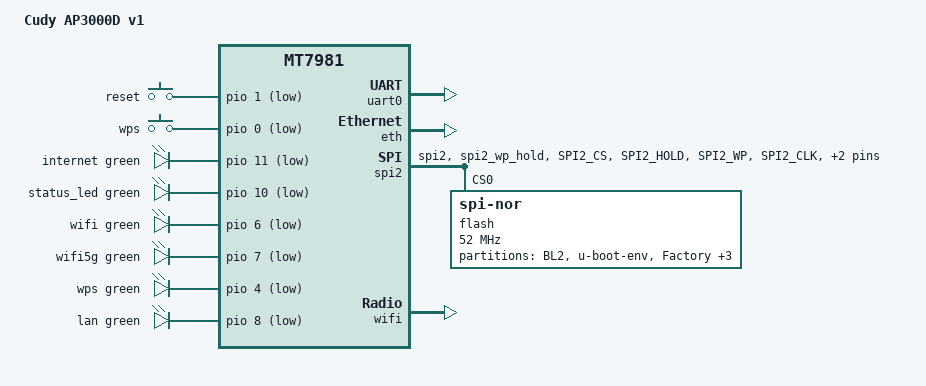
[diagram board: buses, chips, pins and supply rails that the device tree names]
// SPDX-License-Identifier: GPL-2.0-only OR MIT

/dts-v1/;

#include <dt-bindings/leds/common.h>

#include "mt7981b.dtsi"

/ {
	model = "Cudy AP3000D v1";
	compatible = "cudy,ap3000d-v1", "mediatek,mt7981";

	aliases {
		label-mac-device = &gmac1;
		led-boot = &status_led;
		led-failsafe = &status_led;
		led-running = &status_led;
		led-upgrade = &status_led;
		serial0 = &uart0;
	};

	chosen {
		stdout-path = "serial0:115200n8";
	};

	gpio-keys-polled {
		compatible = "gpio-keys-polled";
		poll-interval = <20>;

		reset {
			label = "reset";
			linux,code = <KEY_RESTART>;
			gpios = <&pio 1 GPIO_ACTIVE_LOW>;
		};

		wps {
			label = "wps";
			linux,code = <KEY_WPS_BUTTON>;
			gpios = <&pio 0 GPIO_ACTIVE_LOW>;
		};
	};

	gpio-leds {
		compatible = "gpio-leds";

		internet {
			function = LED_FUNCTION_WAN_ONLINE;
			color = <LED_COLOR_ID_GREEN>;
			gpios = <&pio 11 GPIO_ACTIVE_LOW>;
		};

		status_led: status {
			function = LED_FUNCTION_STATUS;
			color = <LED_COLOR_ID_GREEN>;
			gpios = <&pio 10 GPIO_ACTIVE_LOW>;
		};

		wifi {
			function = LED_FUNCTION_WLAN_2GHZ;
			color = <LED_COLOR_ID_GREEN>;
			gpios = <&pio 6 GPIO_ACTIVE_LOW>;
		};

		wifi5g {
			function = LED_FUNCTION_WLAN_5GHZ;
			color = <LED_COLOR_ID_GREEN>;
			gpios = <&pio 7 GPIO_ACTIVE_LOW>;
		};

		wps {
			function = LED_FUNCTION_WPS;
			color = <LED_COLOR_ID_GREEN>;
			gpios = <&pio 4 GPIO_ACTIVE_LOW>;
		};

		lan {
			function = LED_FUNCTION_LAN;
			color = <LED_COLOR_ID_GREEN>;
			gpios = <&pio 8 GPIO_ACTIVE_LOW>;
		};
	};
};

&uart0 {
	status = "okay";
};

&eth {
	pinctrl-names = "default";
	pinctrl-0 = <&mdio_pins>;
	status = "okay";

	gmac1: mac@1 {
		compatible = "mediatek,eth-mac";
		reg = <1>;
		phy-mode = "gmii";
		phy-handle = <&int_gbe_phy>;

		nvmem-cell-names = "mac-address";
		nvmem-cells = <&macaddr_bdinfo_de00 1>;
	};
};

&spi2 {
	pinctrl-names = "default";
	pinctrl-0 = <&spi2_flash_pins>;
	status = "okay";

	flash@0 {
		compatible = "jedec,spi-nor";
		reg = <0>;
		spi-max-frequency = <52000000>;
		spi-tx-bus-width = <4>;
		spi-rx-bus-width = <4>;

		partitions {
			compatible = "fixed-partitions";
			#address-cells = <1>;
			#size-cells = <1>;

			partition@0 {
				label = "BL2";
				reg = <0x000000 0x040000>;
				read-only;
			};

			partition@40000 {
				label = "u-boot-env";
				reg = <0x040000 0x010000>;
				read-only;
			};

			factory: partition@50000 {
				label = "Factory";
				reg = <0x050000 0x010000>;
				read-only;

				nvmem-layout {
					compatible = "fixed-layout";
					#address-cells = <1>;
					#size-cells = <1>;

					eeprom_factory_0: eeprom@0 {
						reg = <0x0 0x1000>;
					};
				};
			};

			partition@60000 {
				label = "bdinfo";
				reg = <0x060000 0x010000>;
				read-only;

				nvmem-layout {
					compatible = "fixed-layout";
					#address-cells = <1>;
					#size-cells = <1>;

					macaddr_bdinfo_de00: macaddr@de00 {
						compatible = "mac-base";
						reg = <0xde00 0x6>;
						#nvmem-cell-cells = <1>;
					};
				};
			};

			partition@70000 {
				label = "FIP";
				reg = <0x070000 0x080000>;
				read-only;
			};

			partition@f0000 {
				label = "firmware";
				reg = <0x0f0000 0xf10000>;
			};
		};
	};
};

&pio {
	spi2_flash_pins: spi2-pins {
		mux {
			function = "spi";
			groups = "spi2", "spi2_wp_hold";
		};

		conf-pu {
			pins = "SPI2_CS", "SPI2_HOLD", "SPI2_WP";
			drive-strength = <MTK_DRIVE_8mA>;
			bias-pull-up = <MTK_PUPD_SET_R1R0_11>;
		};

		conf-pd {
			pins = "SPI2_CLK", "SPI2_MOSI", "SPI2_MISO";
			drive-strength = <MTK_DRIVE_8mA>;
			bias-pull-down = <MTK_PUPD_SET_R1R0_11>;
		};
	};
};

&wifi {
	nvmem-cell-names = "eeprom";
	nvmem-cells = <&eeprom_factory_0>;
	status = "okay";
};
